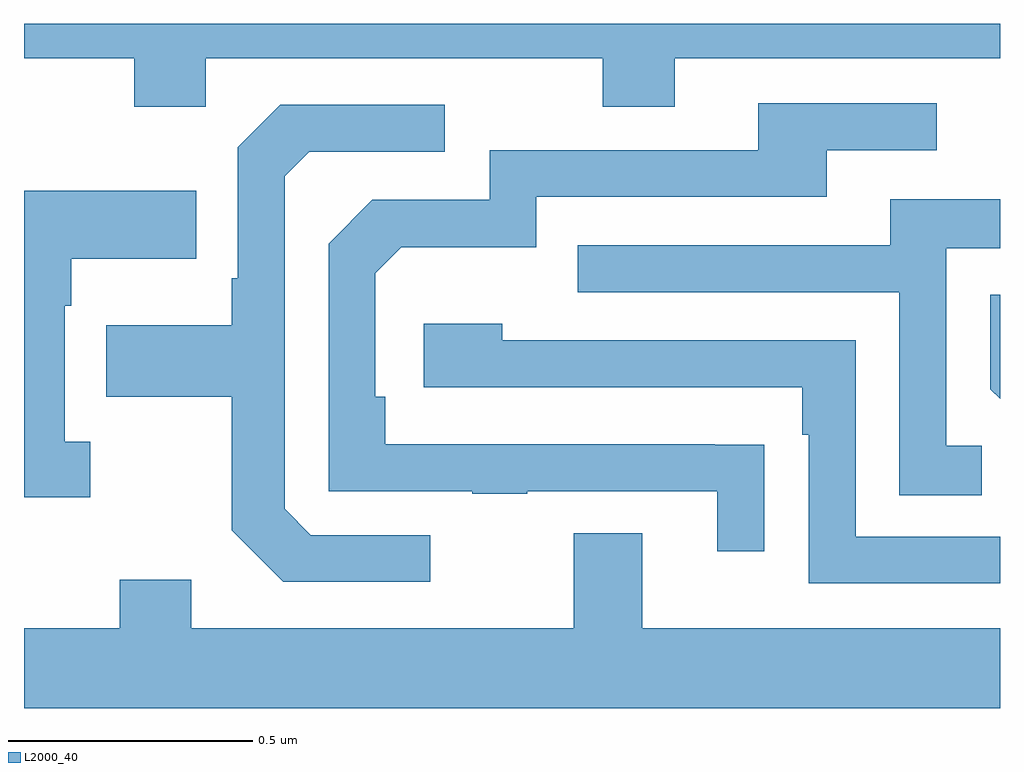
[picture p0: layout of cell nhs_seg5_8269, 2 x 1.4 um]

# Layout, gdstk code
import gdstk
lib = gdstk.Library(unit=1e-6, precision=1e-09)
def P(c, l, *ps):  # polygons
    for p in ps: c.add(gdstk.Polygon(p, *l))
L2000_40 = (2000, 40)

nhs_seg5_8269 = lib.new_cell('nhs_seg5_8269')
P(nhs_seg5_8269, L2000_40, [(219.372,888.728),(220.186,888.728),(220.186,888.629),(220.333,888.629),(220.333,888.728),(221,888.728),(221,888.799),(219,888.799),(219,888.728),(219.226,888.728),(219.226,888.629),(219.372,888.629)],
  [(220.517,887.936),(220.415,887.936),(220.415,887.937),(219.74,887.937),(219.74,888.034),(219.72,888.034),(219.72,888.288),(219.773,888.341),(220.05,888.341),(220.05,888.444),(220.645,888.444),(220.645,888.54),(220.87,888.54),(220.87,888.636),(220.505,888.636),(220.505,888.54),(219.954,888.54),(219.954,888.438),(219.714,888.438),(219.624,888.348),(219.624,887.841),(219.919,887.841),(219.919,887.836),(220.031,887.836),(220.031,887.841),(220.421,887.841),(220.421,887.718),(220.517,887.718)],
  [(219.832,887.751),(219.588,887.751),(219.534,887.805),(219.534,888.486),(219.585,888.537),(219.862,888.537),(219.862,888.633),(219.525,888.633),(219.438,888.546),(219.438,888.277),(219.426,888.277),(219.426,888.181),(219.169,888.181),(219.169,888.034),(219.426,888.034),(219.426,887.761),(219.531,887.655),(219.832,887.655)],
  [(219.136,887.942),(219.084,887.942),(219.084,888.221),(219.097,888.221),(219.097,888.317),(219.353,888.317),(219.353,888.457),(219,888.457),(219,887.829),(219.136,887.829)],
  [(220.963,887.934),(220.89,887.934),(220.89,888.339),(221,888.339),(221,888.439),(220.775,888.439),(220.775,888.345),(220.135,888.345),(220.135,888.249),(220.794,888.249),(220.794,887.833),(220.963,887.833)],
  [(221,888.244),(220.98,888.244),(220.98,888.05),(221,888.03)],
  [(221,887.748),(220.704,887.748),(220.704,888.15),(219.98,888.15),(219.98,888.184),(219.819,888.184),(219.819,888.054),(220.595,888.054),(220.595,887.957),(220.608,887.957),(220.608,887.652),(221,887.652)],
  [(221,887.56),(220.267,887.56),(220.267,887.755),(220.127,887.755),(220.127,887.56),(219.343,887.56),(219.343,887.659),(219.196,887.659),(219.196,887.56),(219,887.56),(219,887.396),(221,887.396)])

lib.write_gds('nhs_seg5_8269.gds')
